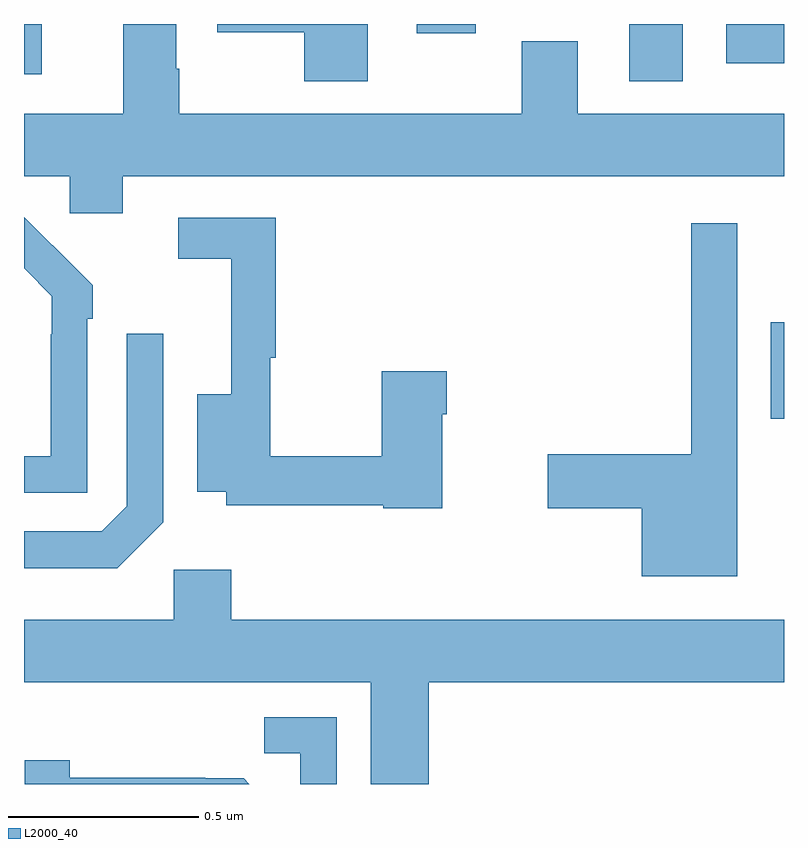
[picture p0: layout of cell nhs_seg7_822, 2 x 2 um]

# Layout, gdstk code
import gdstk
lib = gdstk.Library(unit=1e-6, precision=1e-09)
def R(c, l, rs):  # rectangles x0, y0, x1, y1
    for r in rs: c.add(gdstk.rectangle(r[:2], r[2:], *l))
def P(c, l, *ps):  # polygons
    for p in ps: c.add(gdstk.Polygon(p, *l))
L2000_40 = (2000, 40)

nhs_seg7_822 = lib.new_cell('nhs_seg7_822')
R(nhs_seg7_822, L2000_40, [(123.965,1015.961,124,1016.215), (123.593,1016.85,123.733,1017), (122,1016.868,122.047,1017), (123.848,1016.897,124,1017), (123.033,1016.976,123.189,1017)])
P(nhs_seg7_822, L2000_40, [(122.26,1016.6),(124,1016.6),(124,1016.764),(123.457,1016.764),(123.457,1016.954),(123.31,1016.954),(123.31,1016.764),(122.409,1016.764),(122.409,1016.882),(122.401,1016.882),(122.401,1017),(122.261,1017),(122.261,1016.764),(122,1016.764),(122,1016.6),(122.121,1016.6),(122.121,1016.502),(122.26,1016.502)],
  [(122.905,1017),(122.508,1017),(122.508,1016.978),(122.738,1016.978),(122.738,1016.85),(122.905,1016.85)],
  [(122.166,1016.225),(122.181,1016.225),(122.181,1016.313),(122.076,1016.418),(122.075,1016.417),(122,1016.492),(122,1016.357),(122.073,1016.283),(122.073,1016.183),(122.07,1016.183),(122.07,1015.863),(122,1015.863),(122,1015.767),(122.166,1015.767)],
  [(123.1,1015.973),(123.113,1015.973),(123.113,1016.086),(122.942,1016.086),(122.942,1015.862),(122.648,1015.862),(122.648,1016.122),(122.663,1016.122),(122.663,1016.49),(122.406,1016.49),(122.406,1016.382),(122.546,1016.382),(122.546,1016.026),(122.456,1016.026),(122.456,1015.769),(122.532,1015.769),(122.532,1015.734),(122.946,1015.734),(122.946,1015.726),(123.1,1015.726)],
  [(123.877,1016.476),(123.756,1016.476),(123.756,1015.868),(123.378,1015.868),(123.378,1015.726),(123.626,1015.726),(123.626,1015.547),(123.877,1015.547)],
  [(122.367,1015.689),(122.367,1016.185),(122.271,1016.185),(122.271,1015.731),(122.205,1015.665),(122,1015.665),(122,1015.568),(122.246,1015.568)],
  [(123.065,1015.268),(124,1015.268),(124,1015.432),(122.546,1015.432),(122.546,1015.564),(122.394,1015.564),(122.394,1015.432),(122,1015.432),(122,1015.268),(122.912,1015.268),(122.912,1015),(123.065,1015)],
  [(122.823,1015.176),(122.632,1015.176),(122.632,1015.081),(122.727,1015.081),(122.727,1015),(122.823,1015)],
  [(122.578,1015.015),(122.477,1015.015),(122.477,1015.016),(122.121,1015.016),(122.121,1015.063),(122.002,1015.063),(122.002,1015),(122.593,1015)])

lib.write_gds('nhs_seg7_822.gds')
